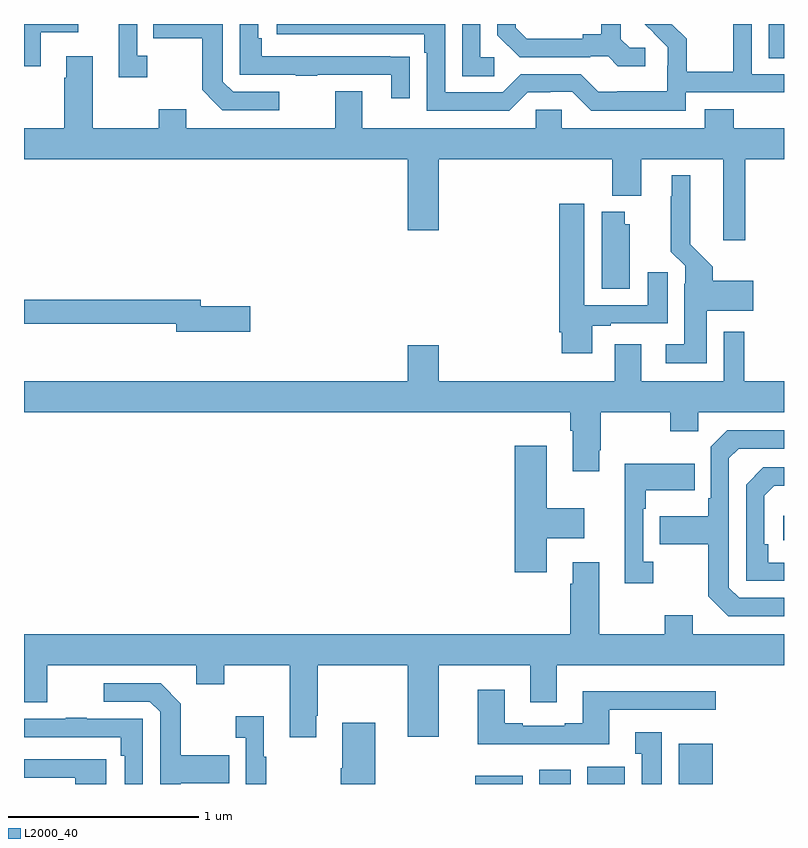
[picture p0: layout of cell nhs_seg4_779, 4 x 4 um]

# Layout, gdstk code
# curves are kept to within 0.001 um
import gdstk
lib = gdstk.Library(unit=1e-6, precision=1e-09)
def R(c, l, rs):  # rectangles x0, y0, x1, y1
    for r in rs: c.add(gdstk.rectangle(r[:2], r[2:], *l))
def P(c, l, *ps):  # polygons
    for p in ps: c.add(gdstk.Polygon(p, *l))
L2000_40 = (2000, 40)

nhs_seg4_779 = lib.new_cell('nhs_seg4_779')
R(nhs_seg4_779, L2000_40, [(153.374,758.9,153.625,758.944), (153.713,758.9,153.877,758.974), (153.965,758.9,154.162,758.992), (154.445,758.9,154.624,759.112), (154.995,760.182,155,760.312), (154.919,762.721,155,762.9)])
P(nhs_seg4_779, L2000_40, [(154.482,762.54),(155,762.54),(155,762.636),(154.83,762.636),(154.83,762.9),(154.734,762.9),(154.734,762.872),(154.732,762.872),(154.732,762.649),(154.487,762.649),(154.487,762.823),(154.41,762.9),(154.407,762.897),(154.404,762.9),(154.268,762.9),(154.388,762.778),(154.388,762.681),(154.386,762.681),(154.386,762.547),(154.123,762.547),(154.123,762.543),(154.023,762.543),(153.93,762.636),(153.615,762.636),(153.519,762.54),(153.216,762.54),(153.216,762.9),(152.331,762.9),(152.331,762.846),(153.107,762.846),(153.107,762.749),(153.12,762.749),(153.12,762.444),(153.555,762.444),(153.651,762.54),(153.77,762.54),(153.77,762.543),(153.885,762.543),(153.985,762.443),(154.482,762.443)],
  [(151.087,762.857),(151.285,762.857),(151.285,762.9),(151,762.9),(151,762.678),(151.087,762.678)],
  [(152.344,762.543),(152.1,762.543),(152.046,762.597),(152.046,762.9),(151.681,762.9),(151.681,762.826),(151.938,762.826),(151.938,762.553),(152.005,762.485),(152.043,762.447),(152.344,762.447)],
  [(151.648,762.734),(151.596,762.734),(151.596,762.9),(151.499,762.9),(151.499,762.621),(151.648,762.621)],
  [(153.029,762.728),(152.927,762.728),(152.927,762.729),(152.252,762.729),(152.252,762.826),(152.232,762.826),(152.232,762.9),(152.136,762.9),(152.136,762.633),(152.431,762.633),(152.431,762.628),(152.543,762.628),(152.543,762.633),(152.933,762.633),(152.933,762.51),(153.029,762.51)],
  [(154.27,762.774),(154.188,762.774),(154.141,762.821),(154.141,762.9),(154.037,762.9),(154.037,762.845),(153.941,762.845),(153.941,762.822),(153.646,762.822),(153.589,762.879),(153.589,762.9),(153.492,762.9),(153.492,762.842),(153.608,762.726),(153.98,762.726),(153.98,762.729),(154.074,762.729),(154.126,762.677),(154.27,762.677)],
  [(153.475,762.726),(153.402,762.726),(153.402,762.9),(153.306,762.9),(153.306,762.625),(153.475,762.625)],
  [(153.831,762.45),(153.693,762.45),(153.693,762.352),(152.779,762.352),(152.779,762.547),(152.639,762.547),(152.639,762.352),(151.855,762.352),(151.855,762.451),(151.708,762.451),(151.708,762.352),(151.363,762.352),(151.363,762.73),(151.223,762.73),(151.223,762.617),(151.211,762.617),(151.211,762.352),(151,762.352),(151,762.188),(153.02,762.188),(153.02,761.814),(153.184,761.814),(153.184,762.188),(154.097,762.188),(154.097,761.996),(154.249,761.996),(154.249,762.188),(154.679,762.188),(154.679,761.763),(154.797,761.763),(154.797,762.188),(155,762.188),(155,762.352),(154.736,762.352),(154.736,762.451),(154.583,762.451),(154.583,762.352),(153.831,762.352)],
  [(154.594,761.39),(154.837,761.39),(154.837,761.548),(154.625,761.548),(154.625,761.622),(154.507,761.74),(154.507,762.103),(154.409,762.103),(154.409,761.993),(154.405,761.993),(154.405,761.702),(154.479,761.628),(154.479,761.534),(154.475,761.534),(154.475,761.215),(154.377,761.215),(154.377,761.114),(154.594,761.114)],
  [(153.991,761.313),(154.087,761.313),(154.087,761.325),(154.387,761.325),(154.387,761.593),(154.283,761.593),(154.283,761.421),(153.949,761.421),(153.949,761.953),(153.818,761.953),(153.818,761.278),(153.83,761.278),(153.83,761.166),(153.991,761.166)],
  [(154.189,761.847),(154.162,761.847),(154.162,761.911),(154.04,761.911),(154.04,761.506),(154.189,761.506)],
  [(152.191,761.414),(151.93,761.414),(151.93,761.45),(151,761.45),(151,761.322),(151.802,761.322),(151.802,761.279),(152.191,761.279)],
  [(154.027,760.657),(154.035,760.657),(154.035,760.856),(154.402,760.856),(154.402,760.757),(154.548,760.757),(154.548,760.856),(155,760.856),(155,761.02),(154.792,761.02),(154.792,761.281),(154.683,761.281),(154.683,761.02),(154.249,761.02),(154.249,761.215),(154.109,761.215),(154.109,761.02),(153.184,761.02),(153.184,761.209),(153.02,761.209),(153.02,761.02),(151,761.02),(151,760.856),(153.875,760.856),(153.875,760.76),(153.887,760.76),(153.887,760.545),(154.027,760.545)],
  [(155,759.879),(154.764,759.879),(154.71,759.933),(154.71,760.614),(154.761,760.665),(155,760.665),(155,760.761),(154.701,760.761),(154.614,760.674),(154.614,760.405),(154.602,760.405),(154.602,760.309),(154.345,760.309),(154.345,760.162),(154.602,760.162),(154.602,759.889),(154.707,759.783),(155,759.783)],
  [(153.751,760.193),(153.949,760.193),(153.949,760.351),(153.751,760.351),(153.751,760.681),(153.584,760.681),(153.584,760.014),(153.751,760.014)],
  [(154.312,760.07),(154.26,760.07),(154.26,760.349),(154.273,760.349),(154.273,760.445),(154.529,760.445),(154.529,760.585),(154.163,760.585),(154.163,759.957),(154.312,759.957)],
  [(155,760.065),(154.916,760.065),(154.916,760.162),(154.896,760.162),(154.896,760.416),(154.949,760.469),(155,760.469),(155,760.566),(154.89,760.566),(154.8,760.476),(154.8,759.969),(155,759.969)],
  [(152.539,759.259),(152.547,759.259),(152.547,759.524),(153.02,759.524),(153.02,759.15),(153.184,759.15),(153.184,759.524),(153.665,759.524),(153.665,759.33),(153.805,759.33),(153.805,759.524),(155,759.524),(155,759.688),(154.519,759.688),(154.519,759.787),(154.372,759.787),(154.372,759.688),(154.027,759.688),(154.027,760.066),(153.887,760.066),(153.887,759.953),(153.875,759.953),(153.875,759.688),(151,759.688),(151,759.33),(151.123,759.33),(151.123,759.524),(151.907,759.524),(151.907,759.425),(152.055,759.425),(152.055,759.524),(152.399,759.524),(152.399,759.147),(152.539,759.147)],
  [(151.825,758.903),(152.081,758.903),(152.081,759.051),(151.825,759.051),(151.825,759.323),(151.719,759.429),(151.419,759.429),(151.419,759.333),(151.662,759.333),(151.716,759.279),(151.716,758.9),(151.825,758.9)],
  [(154.081,759.291),(154.642,759.291),(154.642,759.388),(153.941,759.388),(153.941,759.22),(153.845,759.22),(153.845,759.207),(153.625,759.207),(153.625,759.22),(153.529,759.22),(153.529,759.397),(153.389,759.397),(153.389,759.11),(154.081,759.11)],
  [(152.275,759.043),(152.263,759.043),(152.263,759.256),(152.115,759.256),(152.115,759.143),(152.166,759.143),(152.166,758.9),(152.275,758.9)],
  [(151.626,759.243),(151.331,759.243),(151.331,759.248),(151.219,759.248),(151.219,759.243),(151,759.243),(151,759.147),(151.51,759.147),(151.51,759.05),(151.53,759.05),(151.53,758.9),(151.626,758.9)],
  [(152.848,759.223),(152.675,759.223),(152.675,758.983),(152.668,758.983),(152.668,758.9),(152.848,758.9)],
  [(154.357,759.172),(154.217,759.172),(154.217,759.059),(154.25,759.059),(154.25,758.9),(154.357,758.9)],
  [(151.432,759.03),(151,759.03),(151,758.934),(151.271,758.934),(151.271,758.9),(151.432,758.9)])

lib.write_gds('nhs_seg4_779.gds')
